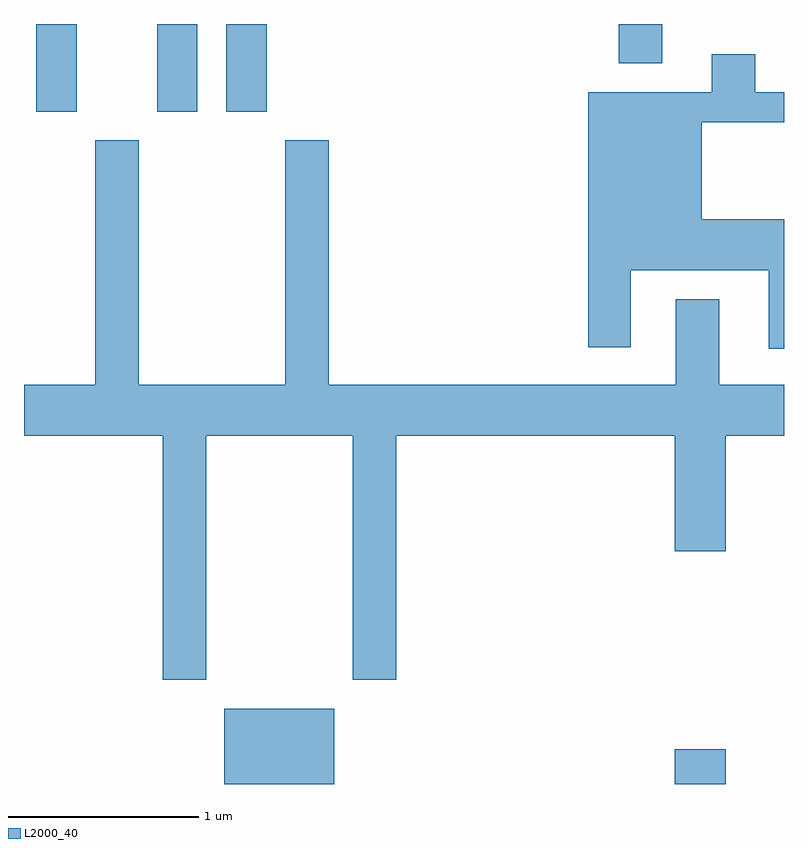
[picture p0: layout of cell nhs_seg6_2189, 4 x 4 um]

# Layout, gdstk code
import gdstk
lib = gdstk.Library(unit=1e-6, precision=1e-09)
def R(c, l, rs):  # rectangles x0, y0, x1, y1
    for r in rs: c.add(gdstk.rectangle(r[:2], r[2:], *l))
def P(c, l, *ps):  # polygons
    for p in ps: c.add(gdstk.Polygon(p, *l))
L2000_40 = (2000, 40)

nhs_seg6_2189 = lib.new_cell('nhs_seg6_2189')
R(nhs_seg6_2189, L2000_40, [(252.666,1588.162,253.244,1588.559), (255.036,1588.162,255.304,1588.344), (251.676,1591.701,251.889,1592.162), (252.311,1591.701,252.524,1592.162), (252.676,1591.701,252.889,1592.162), (254.741,1591.956,254.969,1592.162)])
P(nhs_seg6_2189, L2000_40, [(255.611,1591.134),(255.179,1591.134),(255.179,1591.646),(255.611,1591.646),(255.611,1591.804),(255.459,1591.804),(255.459,1592.004),(255.231,1592.004),(255.231,1591.804),(254.581,1591.804),(254.581,1590.461),(254.804,1590.461),(254.804,1590.866),(255.531,1590.866),(255.531,1590.453),(255.611,1590.453)],
  [(253.214,1591.549),(252.986,1591.549),(252.986,1590.264),(252.214,1590.264),(252.214,1591.549),(251.986,1591.549),(251.986,1590.264),(251.611,1590.264),(251.611,1589.996),(252.341,1589.996),(252.341,1588.711),(252.569,1588.711),(252.569,1589.996),(253.341,1589.996),(253.341,1588.711),(253.569,1588.711),(253.569,1589.996),(255.036,1589.996),(255.036,1589.386),(255.304,1589.386),(255.304,1589.996),(255.611,1589.996),(255.611,1590.264),(255.269,1590.264),(255.269,1590.714),(255.041,1590.714),(255.041,1590.264),(253.214,1590.264)])

lib.write_gds('nhs_seg6_2189.gds')
